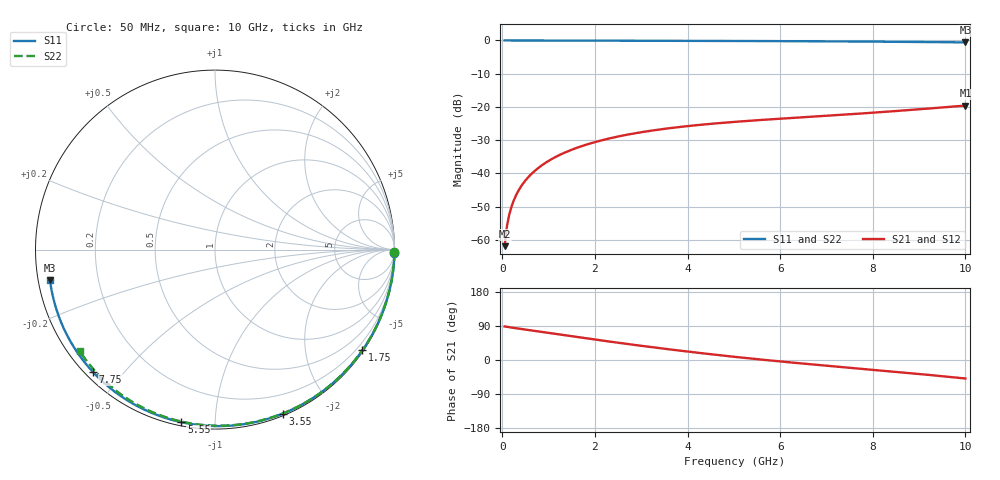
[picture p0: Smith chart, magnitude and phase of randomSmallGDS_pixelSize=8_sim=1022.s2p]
! freq	dB(S11)	phase(S11)	dB(S12)	phase(S12)
!  dB(S21)	phase(S21)	dB(S22)	phase(S22)
!S-par simulation data
#  GHz  S  DB  R 50
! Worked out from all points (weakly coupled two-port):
!   200 points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, 50 MHz to 10 GHz, reference 50 ohm
!   highest |S21| = -19.60 dB at 10 GHz (marker M1); lowest = -61.9 dB at 50 MHz (marker M2)
!   lowest |S11| = -0.6 dB at 10 GHz (marker M3), VSWR 29.69, Z = 1.7 - j4.55 ohm
!   |S11| at or under -10 dB: nowhere
!   |S22| runs from -0.5 to 0.0 dB; largest |S21 - S12| = 0
!   S11 on the Smith chart (normalised r, x): 50 MHz: open; 1.75 GHz: 0.03, -3.23; 3.55 GHz: 0.02, -1.50; 5.55 GHz: 0.02, -0.82; 7.75 GHz: 0.02, -0.41; 10 GHz: 0.03, -0.09
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0.05  -0.00 -1.0  -61.92 88.8  -61.92 88.8  -0.00 -0.8
0.1  -0.00 -2.0  -55.93 87.6  -55.93 87.6  -0.00 -1.7
0.15  -0.00 -3.0  -52.44 86.5  -52.44 86.5  -0.00 -2.5
0.2  -0.00 -4.0  -49.97 85.6  -49.97 85.6  -0.00 -3.4
0.25  -0.00 -5.0  -48.07 84.6  -48.07 84.6  -0.00 -4.2
0.35  -0.01 -7.0  -45.19 82.9  -45.19 82.9  -0.00 -5.9
0.5  -0.01 -10.0  -42.14 80.3  -42.14 80.3  -0.01 -8.4
0.7  -0.02 -13.9  -39.26 76.7  -39.26 76.7  -0.01 -11.7
1  -0.03 -19.8  -36.24 71.4  -36.24 71.4  -0.02 -16.7
1.35  -0.04 -26.7  -33.74 65.3  -33.74 65.3  -0.03 -22.5
1.75  -0.05 -34.4  -31.64 58.3  -31.64 58.3  -0.04 -29.0
2.6  -0.07 -50.4  -28.63 43.9  -28.63 43.9  -0.06 -42.6
3.4  -0.09 -64.9  -26.79 31.2  -26.79 31.2  -0.08 -54.9
3.55  -0.10 -67.5  -26.51 29.0  -26.51 29.0  -0.09 -57.2
4.3  -0.12 -80.5  -25.36 18.0  -25.36 18.0  -0.11 -68.4
5.05  -0.15 -92.9  -24.47 7.9  -24.47 7.9  -0.13 -79.1
5.55  -0.18 -101.0  -23.97 1.6  -23.97 1.6  -0.15 -86.1
6.7  -0.25 -119.0  -22.93 -11.8  -22.93 -11.8  -0.21 -101.5
7.75  -0.33 -135.0  -21.98 -23.2  -21.98 -23.2  -0.28 -115.0
8.35  -0.38 -144.0  -21.40 -29.7  -21.40 -29.7  -0.34 -122.6
9.2  -0.48 -157.0  -20.50 -39.2  -20.50 -39.2  -0.42 -133.1
10  -0.59 -169.6  -19.60 -48.8  -19.60 -48.8  -0.52 -143.0
